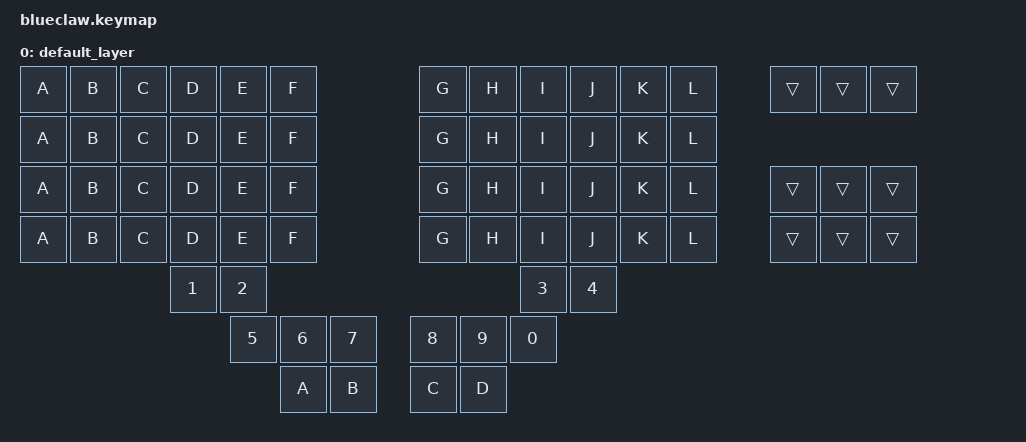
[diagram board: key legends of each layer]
/*
 * Copyright (c) 2020 The ZMK Contributors
 *
 * SPDX-License-Identifier: MIT
 */

#include <behaviors.dtsi>
#include <dt-bindings/zmk/keys.h>
#include <dt-bindings/zmk/bt.h>
#include <dt-bindings/zmk/ext_power.h>

/ {
    uvx --from keymap-drawer keymap {
        compatible = "zmk,keymap";

        default_layer {
            bindings = <
              &kp A    &kp B    &kp C    &kp D    &kp E   &kp F                             &kp G    &kp H    &kp I     &kp J     &kp K    &kp L
              &kp A    &kp B    &kp C    &kp D    &kp E   &kp F                             &kp G    &kp H    &kp I     &kp J     &kp K    &kp L
              &kp A    &kp B    &kp C    &kp D    &kp E   &kp F                             &kp G    &kp H    &kp I     &kp J     &kp K    &kp L
              &kp A    &kp B    &kp C    &kp D    &kp E   &kp F                             &kp G    &kp H    &kp I     &kp J     &kp K    &kp L
                                &kp N1    &kp N2                                                              &kp N3    &kp N4
                                                   &kp N5   &kp N6   &kp N7       &kp N8   &kp N9   &kp N0
                                                            &kp A    &kp B        &kp C    &kp D
                &trans      &trans      &trans
                &trans      &trans      &trans
                &trans      &trans      &trans

            >;

        };

    };
};
